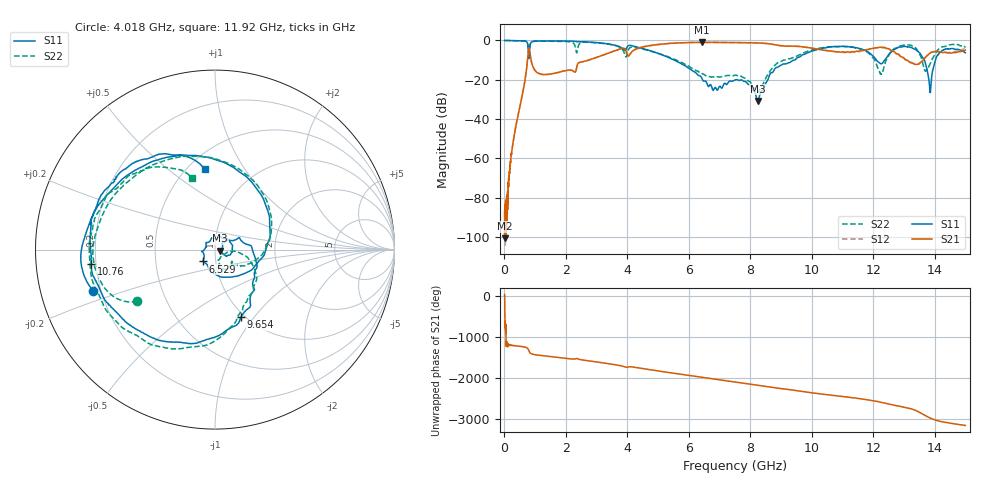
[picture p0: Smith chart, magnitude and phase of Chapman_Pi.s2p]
!	Fieldfox Controller
!	Chapman University - Class ENG398
!	Introduction to RF - DMG (2024)
!Created with skrf (http://scikit-rf.org).
# Hz S RI R 50.0
!freq ReS11 ImS11 ReS21 ImS21 ReS12 ImS12 ReS22 ImS22
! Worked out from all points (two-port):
!   8001 points, 10 MHz to 15 GHz, reference 50 ohm
!   highest |S21| = -0.96 dB at 6.422 GHz (marker M1); lowest = -100.8 dB at 24.99 MHz (marker M2)
!   |S21| within 3 dB of the highest: 4.357 GHz to 10.03 GHz (5.675 GHz wide, 78.9 % of centre); 12.01 GHz to 12.43 GHz (423.4 MHz wide, 3.46 % of centre)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
!   lowest |S11| = -30.8 dB at 8.241 GHz (marker M3), VSWR 1.06, Z = 52.9 - j0.63 ohm
!   |S11| at or under -10 dB: 5.53 GHz to 9.438 GHz (3.908 GHz wide, 52.2 % of centre); 12.1 GHz to 12.37 GHz (271.2 MHz wide, 2.22 % of centre); 13.66 GHz to 14.03 GHz (362.2 MHz wide, 2.62 % of centre)
!   |S22| runs from -26.3 to 0.0 dB; largest |S21 - S12| = 0.054
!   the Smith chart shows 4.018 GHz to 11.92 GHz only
!   S11 on the Smith chart (normalised r, x): 4.018 GHz: 0.17, -0.16; 6.529 GHz: 0.87, -0.12; 9.654 GHz: 0.96, -0.86; 10.76 GHz: 0.18, -0.06; 11.92 GHz: 0.60, +0.68
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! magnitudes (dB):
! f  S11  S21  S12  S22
! 10 MHz  0.0  -98.7  -87.1  0.0
! 24.99 MHz  0.0  -100.8  -89.7  0.0
! 798.8 MHz  -9.0  -4.0  -4.0  -8.9
! 1.256 GHz  -0.3  -17.4  -17.4  -0.4
! 2.51 GHz  -0.7  -11.0  -11.1  -1.1
! 4.018 GHz  -2.9  -7.8  -7.8  -5.7
! 5.007 GHz  -6.6  -2.0  -2.1  -6.6
! 6.422 GHz  -19.1  -1.0  -1.0  -16.9
! 6.529 GHz  -20.6  -1.0  -1.0  -17.7
! 7.505 GHz  -20.2  -1.1  -1.1  -17.7
! 8.241 GHz  -30.8  -1.3  -1.3  -26.2
! 8.826 GHz  -14.0  -2.2  -2.3  -12.3
! 9.654 GHz  -7.9  -3.1  -3.2  -7.0
! 10 GHz  -5.4  -3.9  -3.9  -4.9
! 10.76 GHz  -3.2  -5.7  -5.7  -3.1
! 11.92 GHz  -6.9  -4.2  -4.4  -7.5
! 12.25 GHz  -11.9  -3.5  -3.7  -17.1
! 12.5 GHz  -7.3  -4.2  -4.4  -7.8
! 13.4 GHz  -4.9  -12.2  -11.7  -4.0
! 13.85 GHz  -25.4  -6.4  -6.4  -12.1
! 14.21 GHz  -5.4  -5.9  -5.8  -3.4
! 15 GHz  -6.3  -5.0  -4.4  -3.6
